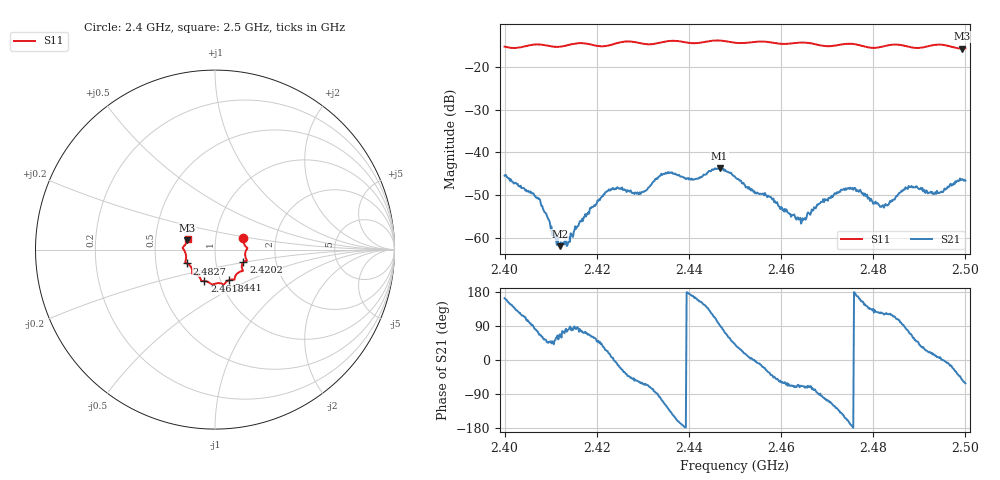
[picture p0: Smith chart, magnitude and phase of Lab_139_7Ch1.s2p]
# Hz S RI R 50
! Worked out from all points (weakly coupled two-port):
!   601 points, 2.4 GHz to 2.5 GHz, reference 50 ohm
!   highest |S21| = -43.60 dB at 2.4467 GHz (marker M1); lowest = -61.8 dB at 2.412 GHz (marker M2)
!   lowest |S11| = -15.8 dB at 2.4993 GHz (marker M3), VSWR 1.39, Z = 36.5 + j3.83 ohm
!   |S11| at or under -10 dB: start of sweep to end of sweep
!   S12 and S22 are empty: the file has one direction only
!   S11 on the Smith chart (normalised r, x): 2.4 GHz: 1.36, +0.18; 2.4202 GHz: 1.36, -0.20; 2.441 GHz: 1.10, -0.39; 2.4618 GHz: 0.84, -0.30; 2.4827 GHz: 0.72, -0.12; 2.5 GHz: 0.73, +0.09
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2.4e9  0.1585 0.0631  -0.00513 0.00157  0 0  0 0
2.407167e9  0.1809 0.00848  0.000744 0.00289  0 0  0 0
2.412e9  0.1682 -0.0277  0.000307 0.000752  0 0  0 0
2.413667e9  0.1715 -0.0461  0.000161 0.000827  0 0  0 0
2.416667e9  0.1773 -0.061  0.000406 0.00152  0 0  0 0
2.420167e9  0.1585 -0.0712  0.00185 0.00205  0 0  0 0
2.424e9  0.151 -0.1065  0.00379 -0.00024  0 0  0 0
2.429667e9  0.1397 -0.1231  0.00163 -0.00303  0 0  0 0
2.433333e9  0.1115 -0.1507  -0.000289 -0.00513  0 0  0 0
2.441e9  0.0787 -0.1698  -0.0047 0.00112  0 0  0 0
2.446667e9  0.0483 -0.1951  -0.00021 0.00661  0 0  0 0
2.45e9  0.0285 -0.1873  0.00392 0.00345  0 0  0 0
2.461833e9  -0.0592 -0.1754  0.000762 -0.00177  0 0  0 0
2.464833e9  -0.0759 -0.1746  0.000576 -0.00154  0 0  0 0
2.466667e9  -0.0788 -0.1683  0.000506 -0.00211  0 0  0 0
2.4745e9  -0.1266 -0.1342  -0.00358 -0.00135  0 0  0 0
2.482667e9  -0.1562 -0.0772  -0.00134 0.00213  0 0  0 0
2.483333e9  -0.1604 -0.075  -0.00126 0.00212  0 0  0 0
2.4875e9  -0.162 -0.0548  0.000767 0.00368  0 0  0 0
2.4945e9  -0.1801 0.0108  0.00337 0.000442  0 0  0 0
2.499333e9  -0.1541 0.0512  0.00297 -0.0039  0 0  0 0
2.5e9  -0.1522 0.0607  0.00225 -0.00413  0 0  0 0
